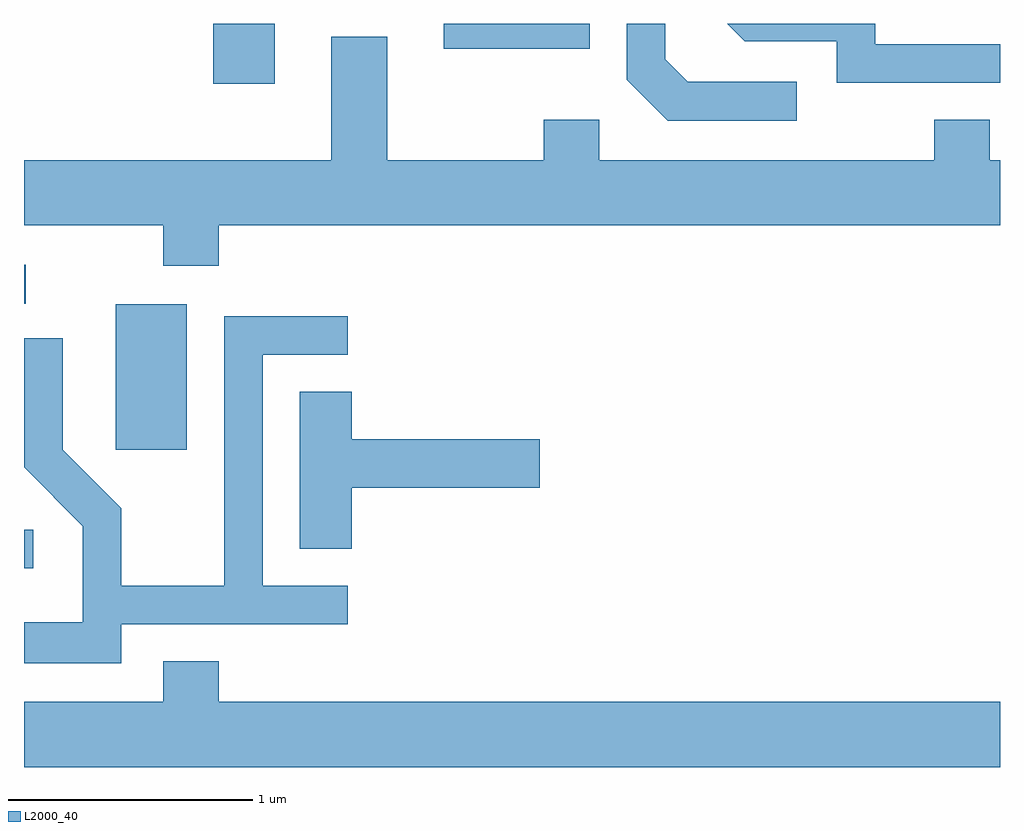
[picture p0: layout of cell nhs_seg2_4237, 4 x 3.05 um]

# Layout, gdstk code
import gdstk
lib = gdstk.Library(unit=1e-6, precision=1e-09)
def R(c, l, rs):  # rectangles x0, y0, x1, y1
    for r in rs: c.add(gdstk.rectangle(r[:2], r[2:], *l))
def P(c, l, *ps):  # polygons
    for p in ps: c.add(gdstk.Polygon(p, *l))
L2000_40 = (2000, 40)

nhs_seg2_4237 = lib.new_cell('nhs_seg2_4237')
R(nhs_seg2_4237, L2000_40, [(309.611,1053.571,309.648,1053.729), (309.986,1054.056,310.279,1054.654), (309.611,1054.656,309.618,1054.814), (310.386,1055.556,310.639,1055.802), (311.331,1055.701,311.929,1055.802)])
P(nhs_seg2_4237, L2000_40, [(312.778,1055.564),(312.332,1055.564),(312.239,1055.657),(312.239,1055.802),(312.081,1055.802),(312.081,1055.574),(312.249,1055.406),(312.778,1055.406)],
  [(313.611,1055.719),(313.099,1055.719),(313.099,1055.802),(312.493,1055.802),(312.564,1055.731),(312.941,1055.731),(312.941,1055.561),(313.611,1055.561)],
  [(313.611,1055.244),(313.569,1055.244),(313.569,1055.409),(313.341,1055.409),(313.341,1055.244),(311.969,1055.244),(311.969,1055.409),(311.741,1055.409),(311.741,1055.244),(311.099,1055.244),(311.099,1055.749),(310.871,1055.749),(310.871,1055.244),(309.611,1055.244),(309.611,1054.976),(310.181,1054.976),(310.181,1054.811),(310.409,1054.811),(310.409,1054.976),(313.611,1054.976)],
  [(310.009,1053.341),(310.938,1053.341),(310.938,1053.499),(310.589,1053.499),(310.589,1054.446),(310.938,1054.446),(310.938,1054.604),(310.431,1054.604),(310.431,1053.499),(310.009,1053.499),(310.009,1053.817),(309.769,1054.057),(309.769,1054.513),(309.611,1054.513),(309.611,1053.984),(309.851,1053.744),(309.851,1053.349),(309.611,1053.349),(309.611,1053.181),(310.009,1053.181)],
  [(310.954,1053.901),(311.724,1053.901),(311.724,1054.099),(310.954,1054.099),(310.954,1054.294),(310.741,1054.294),(310.741,1053.651),(310.954,1053.651)],
  [(313.611,1053.024),(310.409,1053.024),(310.409,1053.189),(310.181,1053.189),(310.181,1053.024),(309.611,1053.024),(309.611,1052.756),(313.611,1052.756)])

lib.write_gds('nhs_seg2_4237.gds')
